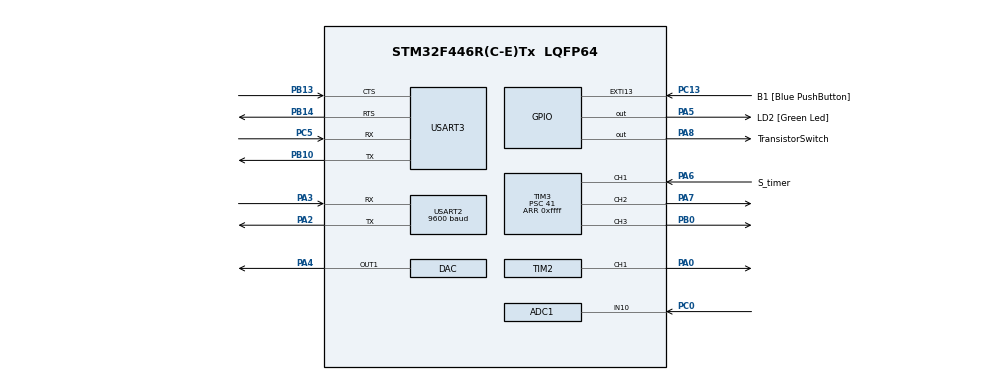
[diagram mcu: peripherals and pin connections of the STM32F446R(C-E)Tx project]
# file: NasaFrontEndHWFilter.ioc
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ADC1.Channel-17\#ChannelRegularConversion=ADC_CHANNEL_10
ADC1.ClockPrescaler=ADC_CLOCK_SYNC_PCLK_DIV2
ADC1.ContinuousConvMode=DISABLE
ADC1.DMAContinuousRequests=ENABLE
ADC1.DataAlign=ADC_DATAALIGN_RIGHT
ADC1.DiscontinuousConvMode=DISABLE
ADC1.EOCSelection=ADC_EOC_SEQ_CONV
ADC1.EnableAnalogWatchDog=false
ADC1.ExternalTrigConv=ADC_EXTERNALTRIGCONV_T2_TRGO
ADC1.ExternalTrigConvEdge=ADC_EXTERNALTRIGCONVEDGE_RISING
ADC1.InjNumberOfConversion=0
ADC1.NbrOfConversion=1
ADC1.NbrOfConversionFlag=1
ADC1.Rank-17\#ChannelRegularConversion=1
ADC1.Resolution=ADC_RESOLUTION_12B
ADC1.SamplingTime-17\#ChannelRegularConversion=ADC_SAMPLETIME_3CYCLES
ADC1.ScanConvMode=DISABLE
ADC1.master=1
Dma.ADC1.0.Direction=DMA_PERIPH_TO_MEMORY
Dma.ADC1.0.FIFOMode=DMA_FIFOMODE_DISABLE
Dma.ADC1.0.Instance=DMA2_Stream0
Dma.ADC1.0.MemDataAlignment=DMA_MDATAALIGN_WORD
Dma.ADC1.0.MemInc=DMA_MINC_ENABLE
Dma.ADC1.0.Mode=DMA_CIRCULAR
Dma.ADC1.0.PeriphDataAlignment=DMA_PDATAALIGN_WORD
Dma.ADC1.0.PeriphInc=DMA_PINC_DISABLE
Dma.ADC1.0.Priority=DMA_PRIORITY_LOW
Dma.Request0=ADC1
Mcu.Family=STM32F4
Mcu.Name=STM32F446R(C-E)Tx
Mcu.Package=LQFP64
Mcu.UserConstants=HI,0xF8E;LO,0x0F8;HIGHCOUNT,2;LOWCOUNT,1;HIGHPERIOD,450;LOWPERIOD,310
NVIC.DMA2_Stream0_IRQn=true\:0\:0\:false\:false\:true
NVIC.EXTI15_10_IRQn=true\:0\:0\:false\:false\:true
NVIC.PriorityGroup=NVIC_PRIORITYGROUP_0
NVIC.TIM3_IRQn=true\:0\:0\:false\:false\:true
NVIC.TIM4_IRQn=true\:0\:0\:false\:false\:true
NVIC.USART2_IRQn=true\:0\:0\:false\:false\:true
PA0-WKUP.Signal=S_TIM2_CH1_ETR
PA2.Mode=Asynchronous
PA2.Signal=USART2_TX
PA3.Mode=Asynchronous
PA3.Signal=USART2_RX
PA4.Signal=COMP_DAC1_group
PA5.GPIO_Label=LD2 [Green Led]
PA5.GPIO_PuPd=GPIO_PULLDOWN
PA5.Signal=GPIO_Output
PA6.GPIO_Label=S_timer
PA6.Signal=S_TIM3_CH1
PA7.GPIO_PuPd=GPIO_PULLDOWN
PA7.Signal=S_TIM3_CH2
PA8.GPIO_Label=TransistorSwitch
PA8.GPIO_PuPd=GPIO_PULLDOWN
PA8.GPIO_Speed=GPIO_SPEED_FREQ_VERY_HIGH
PA8.Signal=GPIO_Output
PB0.Signal=S_TIM3_CH3
PB10.Mode=Asynchronous
PB10.Signal=USART3_TX
PB13.Mode=CTS_RTS
PB13.Signal=USART3_CTS
PB14.Mode=CTS_RTS
PB14.Signal=USART3_RTS
PC0.Signal=ADCx_IN10
PC13.GPIO_Label=B1 [Blue PushButton]
PC13.GPIO_ModeDefaultEXTI=GPIO_MODE_IT_RISING
PC13.GPIO_PuPd=GPIO_PULLDOWN
PC13.Signal=GPXTI13
PC5.Mode=Asynchronous
PC5.Signal=USART3_RX
ProjectManager.HeapSize=0x200
ProjectManager.StackSize=0x400
ProjectManager.TargetToolchain=MDK-ARM V5
RCC.AHBFreq_Value=168000000
RCC.APB1CLKDivider=RCC_HCLK_DIV4
RCC.APB1Freq_Value=42000000
RCC.APB1TimFreq_Value=84000000
RCC.APB2CLKDivider=RCC_HCLK_DIV4
RCC.APB2Freq_Value=42000000
RCC.APB2TimFreq_Value=84000000
RCC.CortexFreq_Value=168000000
RCC.FLatency-AdvancedSettings=FLASH_LATENCY_5
RCC.HCLKFreq_Value=168000000
RCC.HSE_VALUE=8000000
RCC.HSI_VALUE=16000000
RCC.LSE_VALUE=32768
RCC.PLLM=8
RCC.PLLN=168
RCC.SYSCLKFreq_VALUE=168000000
RCC.SYSCLKSource=RCC_SYSCLKSOURCE_PLLCLK
RCC.USBFreq_Value=168000000
RCC.VCOOutputFreq_Value=336000000
SH.ADCx_IN10.0=ADC1_IN10,IN10
SH.COMP_DAC1_group.0=DAC_OUT1,DAC_OUT1
SH.S_TIM2_CH1_ETR.0=TIM2_CH1,Output Compare1 CH1
SH.S_TIM3_CH1.0=TIM3_CH1,Input_Capture1_from_TI1
SH.S_TIM3_CH2.0=TIM3_CH2,Output Compare2 CH2
SH.S_TIM3_CH3.0=TIM3_CH3,Output Compare3 CH3
TIM2.OCMode_1=TIM_OCMODE_TOGGLE
TIM2.Period=419
TIM2.TIM_MasterOutputTrigger=TIM_TRGO_UPDATE
TIM3.Channel-Output\ Compare2\ CH2=TIM_CHANNEL_2
TIM3.Channel-Output\ Compare3\ CH3=TIM_CHANNEL_3
TIM3.ICPolarity_CH1=TIM_INPUTCHANNELPOLARITY_FALLING
TIM3.OCMode_2=TIM_OCMODE_TOGGLE
TIM3.OCMode_3=TIM_OCMODE_TIMING
TIM3.Period=0xffff
TIM3.Prescaler=41
TIM4.Period=62499
TIM4.Prescaler=671
USART2.BaudRate=9600
VP_TIM2_VS_ClockSourceINT.Mode=Internal
VP_TIM3_VS_ClockSourceINT.Mode=Internal
VP_TIM4_VS_ClockSourceINT.Mode=Internal
VP_TIM4_VS_no_output1.Mode=Output Compare1 No Output
board=NUCLEO-F446RE

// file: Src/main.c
/**
  ******************************************************************************
  * File Name          : main.c
  * Description        : Main program body
  ******************************************************************************
  *
  * COPYRIGHT(c) 2016 STMicroelectronics
  *
  * Redistribution and use in source and binary forms, with or without modification,
  * are permitted provided that the following conditions are met:
  *   1. Redistributions of source code must retain the above copyright notice,
  *      this list of conditions and the following disclaimer.
  *   2. Redistributions in binary form must reproduce the above copyright notice,
  *      this list of conditions and the following disclaimer in the documentation
  *      and/or other materials provided with the distribution.
  *   3. Neither the name of STMicroelectronics nor the names of its contributors
  *      may be used to endorse or promote products derived from this software
  *      without specific prior written permission.
  *
  * THIS SOFTWARE IS PROVIDED BY THE COPYRIGHT HOLDERS AND CONTRIBUTORS "AS IS"
  * AND ANY EXPRESS OR IMPLIED WARRANTIES, INCLUDING, BUT NOT LIMITED TO, THE
  * IMPLIED WARRANTIES OF MERCHANTABILITY AND FITNESS FOR A PARTICULAR PURPOSE ARE
  * DISCLAIMED. IN NO EVENT SHALL THE COPYRIGHT HOLDER OR CONTRIBUTORS BE LIABLE
  * FOR ANY DIRECT, INDIRECT, INCIDENTAL, SPECIAL, EXEMPLARY, OR CONSEQUENTIAL
  * DAMAGES (INCLUDING, BUT NOT LIMITED TO, PROCUREMENT OF SUBSTITUTE GOODS OR
  * SERVICES; LOSS OF USE, DATA, OR PROFITS; OR BUSINESS INTERRUPTION) HOWEVER
  * CAUSED AND ON ANY THEORY OF LIABILITY, WHETHER IN CONTRACT, STRICT LIABILITY,
  * OR TORT (INCLUDING NEGLIGENCE OR OTHERWISE) ARISING IN ANY WAY OUT OF THE USE
  * OF THIS SOFTWARE, EVEN IF ADVISED OF THE POSSIBILITY OF SUCH DAMAGE.
  *
  ******************************************************************************
  */
#include "stm32f4xx_hal.h"
#include "ManchesterEncode.h"
#include "MX_INIT_FUNC.h"

/* USER CODE BEGIN Includes */
#define OFFSET 30
/* USER CODE END Includes */

ADC_HandleTypeDef hadc1;
DMA_HandleTypeDef hdma_adc1;

DAC_HandleTypeDef hdac;

TIM_HandleTypeDef htim2;
TIM_HandleTypeDef htim3;
TIM_HandleTypeDef htim4;

UART_HandleTypeDef huart2;
UART_HandleTypeDef huart3;

/* USER CODE BEGIN PV */
/* Private variables ---------------------------------------------------------*/
static int TestArray[ONES_REPEATED + ZEROES_REPEATED];
	//To prevent transients on the oscillator, multiple copies of the same symbol must be sent in a row.
	//This sequency is actually 1010110010
int ArrLen = sizeof(TestArray) / sizeof(int);
int ArrInd = 0;
int NextSymbol = 85, CurrentSymbol = 85;
	//85 = invalid input, prevents accidentaly entering loops

volatile int togglecheck = 1; // flag for when to update nextt transmitted symbol
char PolarityCheck = 'R'; //used to update current edge polarity (Rise or fall)
int stop_ADC = 1;
int CaseNumber = 0; //used to (eventually) switch between data entry modes
int EdgeCount = 0; //counts edges detected to determine when to transmit next symbol

volatile uint32_t ADCConvertedValue; //holds last converted value
uint32_t LastValue = 5000; //invalid value to prevent invalid start

uint16_t CaptureIndex = 0;
uint32_t CapValue0 = 0;
uint32_t CapValue1 = 0;
uint32_t CapValue2 = 0;
uint32_t ValueDiff = 0;

uint32_t i = 0;

volatile uint32_t EntryModeFlag = 0;
volatile uint32_t StartFlag = 0;

/* USER CODE END PV */

/* USER CODE BEGIN PFP */
/* Private function prototypes -----------------------------------------------*/
void TestCaseOutput(void); //output function for testcase mode
void ReadCustomData(void);
/* USER CODE END PFP */

int main(void)
{

  /* USER CODE BEGIN 1 */
	uint16_t testindex = 0;
	uint16_t tmp_tot = ONES_REPEATED + ZEROES_REPEATED;
	for(testindex=0; testindex < ONES_REPEATED; testindex++){
		TestArray[testindex] = 1;
	}
	for(testindex = ONES_REPEATED; testindex<tmp_tot; testindex++){
		TestArray[testindex] = 0;
	}
  /* USER CODE END 1 */

  /* MCU Configuration----------------------------------------------------------*/

  /* Reset of all peripherals, Initializes the Flash interface and the Systick. */
  HAL_Init();

  /* Configure the system clock */
  SystemClock_Config();

  /* Initialize all configured peripherals */
  MX_GPIO_Init();
  MX_DMA_Init();
  MX_ADC1_Init();
  MX_DAC_Init();
  MX_TIM2_Init();
  MX_TIM3_Init();
  MX_USART3_UART_Init();
  MX_TIM4_Init();
  MX_USART2_UART_Init();

  /* USER CODE BEGIN 2 */
	HAL_TIM_Base_Start_IT(&htim2);  //time base for adc sampling rate
	//HAL_ADC_Start_DMA(&hadc1, &ADCConvertedValue, sizeof(uint32_t));
  //HAL_TIM_OC_Start(&htim2,TIM_CHANNEL_1);

	HAL_TIM_IC_Start_IT(&htim3, TIM_CHANNEL_1);

  /* USER CODE END 2 */

  /* Infinite loop */
  while (1)
  {

  /* USER CODE BEGIN 3 */
//		while(!StartFlag){
//		}
		//StartFlag = 0;
		switch(CaseNumber){
			case(0) :
				while(togglecheck){ //if it's time to switch to next symbol
					TestCaseOutput(); //transmit
				}
				break;
			case(1) :
				ReadCustomData();
				break;
			case(2):
				break;
			default :
				break;
		}
	}
  /* USER CODE END 3 */

}

/** System Clock Configuration
*/

/* USER CODE BEGIN 4 */
void TestCaseOutput(void){

	if(NextSymbol == 85){ //data validation for the initial transmission
		NextSymbol = TestArray[ArrInd];  //load the first transmission symbol in the array
		ArrInd++;
	}

	if(NextSymbol == 1){
		HAL_GPIO_WritePin(TransistorSwitch_GPIO_Port, TransistorSwitch_Pin, GPIO_PIN_SET);
		HAL_GPIO_WritePin(LD2_GPIO_Port, LD2_Pin, GPIO_PIN_SET);
	}else if(NextSymbol == 0){
		HAL_GPIO_WritePin(TransistorSwitch_GPIO_Port, TransistorSwitch_Pin, GPIO_PIN_RESET);
	}

	if((ArrInd + 1) <= (ArrLen)){ //prevent ArrInd going out of bounds
		CurrentSymbol = NextSymbol;
		NextSymbol = TestArray[ArrInd];
		ArrInd++;
		if(ArrInd == ArrLen){
			ArrInd = 0;
		}
	}
	togglecheck = 0; //clear flag
}

void ReadCustomData(void){
	static int p=0; //,i = 0;
	uint8_t buffer[100];
	uint8_t recbuff[1];
	uint8_t sendbuff[8];

	p = sprintf((char *)buffer, "Please enter in your own input:\n");
	HAL_UART_Transmit(&huart2, buffer, p,50);
	HAL_UART_Receive(&huart2, recbuff, 2, 10000);
	p = 0;
	//recbuff[0] = ;
	for(i=0;i<8;i++){
		sendbuff[i] = (recbuff[0] & (0x1 << i));
		sendbuff[i] = sendbuff[i] >> i;
		//p++;
	}

	for(int z = 0; z<2; z++){
		for(int j=0;j<8;j++){ //Flag a start to the sequence
					while(!togglecheck){
					}
					HAL_GPIO_WritePin(TransistorSwitch_GPIO_Port, TransistorSwitch_Pin, GPIO_PIN_SET);
					HAL_GPIO_WritePin(LD2_GPIO_Port, LD2_Pin, GPIO_PIN_SET);
					togglecheck = 0;
				}
		//HAL_GPIO_WritePin(TransistorSwitch_GPIO_Port, TransistorSwitch_Pin, GPIO_PIN_RESET);
	}
	for(int z = 0; z<2; z++){
		for(int j=0;j<8;j++){ //Flag a start to the sequence
					while(!togglecheck){
					}
					HAL_GPIO_WritePin(TransistorSwitch_GPIO_Port, TransistorSwitch_Pin, GPIO_PIN_RESET);
					HAL_GPIO_WritePin(LD2_GPIO_Port, LD2_Pin, GPIO_PIN_RESET);
					togglecheck = 0;
				}
		//HAL_GPIO_WritePin(TransistorSwitch_GPIO_Port, TransistorSwitch_Pin, GPIO_PIN_SET);
	}

	for(i=0;i<8;i++){
		if(sendbuff[i] == 1){
			ManchesterOne();
			sendbuff[i] = 0;
		}else if(sendbuff[i] == 0){
			ManchesterZero();
			sendbuff[i] = 0;
		}
	}

	while(!togglecheck){ //set back to low
	}
	HAL_GPIO_WritePin(TransistorSwitch_GPIO_Port, TransistorSwitch_Pin, GPIO_PIN_RESET);
	HAL_GPIO_WritePin(LD2_GPIO_Port, LD2_Pin, GPIO_PIN_RESET);
	togglecheck = 0;

}

void HAL_ADC_ConvCpltCallback(ADC_HandleTypeDef* hadc) //IGNORE THIS CALLBACK --UNUSED
{
	//HAL_GPIO_TogglePin(LD2_GPIO_Port, LD2_Pin); //pin toggle to ensure operation

	if(LastValue <= 4095){
		if((LastValue < LOWEDGE) && (ADCConvertedValue > HIGHEDGE)){
			EdgeCount++;
			if(HAL_TIM_IC_Start_IT(&htim3, TIM_CHANNEL_1) != HAL_OK)
				{
					Error_Handler();
				}
		}

//		if(CurrentSymbol == 1){
//			if(EdgeCount >= HIGHCOUNT){
//				EdgeCount = 0;
//				togglecheck = 1;
//			}
//		}else if(CurrentSymbol == 0){
//			if(EdgeCount >= LOWCOUNT){
//				EdgeCount = 0;
//				togglecheck = 1;
//			}
//		}
	}

	LastValue = ADCConvertedValue; //store last state
}

void HAL_TIM_IC_CaptureCallback( TIM_HandleTypeDef* htim ){

	if(htim->Channel == HAL_TIM_ACTIVE_CHANNEL_1){ //check that the proper timer channel interrupted
		if((PolarityCheck == 'R') && (CaptureIndex == 0)){ //if the next edge is rising and the first capture
			CapValue0 = HAL_TIM_ReadCapturedValue(htim, TIM_CHANNEL_1);
			CaptureIndex++; //increase index variable
			PolarityCheck = 'F'; //change capture polarity
		}else if(CaptureIndex == 1){
			CapValue1 = HAL_TIM_ReadCapturedValue(htim, TIM_CHANNEL_1);
			CaptureIndex++;
			PolarityCheck = 'R';
		}else if(CaptureIndex == 2){
			CapValue0 = HAL_TIM_ReadCapturedValue(htim, TIM_CHANNEL_1);
			CaptureIndex--; //bring back to CapInd = 1
			PolarityCheck = 'F';//change polarity
			togglecheck = 1; //now that ---__-- low pulse detected, begin next transmission
		}
		if(PolarityCheck == 'R'){ //change IC capture polarity
			__HAL_TIM_SET_CAPTUREPOLARITY(&htim3, TIM_CHANNEL_1, TIM_INPUTCHANNELPOLARITY_RISING);
		}else if(PolarityCheck == 'F'){
			__HAL_TIM_SET_CAPTUREPOLARITY(&htim3, TIM_CHANNEL_1, TIM_INPUTCHANNELPOLARITY_FALLING);
		}
	}
}

void HAL_TIM_OC_DelayElapsedCallback( TIM_HandleTypeDef* htim ){
	HAL_TIM_OC_Stop_IT(htim, TIM_CHANNEL_1);
	if(EntryModeFlag){
		CaseNumber = 1;
		EntryModeFlag = 0;
		StartFlag = 1;
	}else if(!CaseNumber){
		ArrInd = 0;
		ArrLen = sizeof(TestArray) / sizeof(int);
		//HAL_TIM_IC_Start_IT(&htim3, TIM_CHANNEL_1);
		StartFlag = 1;
	}
}

void HAL_GPIO_EXTI_Callback(uint16_t GPIO_Pin){

//	if((htim4.Instance->CR1 && 0x0001) == 0){
//		HAL_TIM_OC_Start_IT(&htim4, TIM_CHANNEL_1);
//	}else if((htim4.Instance->CR1 && 0x0001) == 1){
//		EntryModeFlag = 1;
//	}
	StartFlag = 1;
	CaseNumber++;
//	if(!CaseNumber){
//		HAL_TIM_IC_Stop_IT(&htim3, TIM_CHANNEL_1);
//		CaseNumber++;
//		ArrInd = 0;
//	}else{
//		CaseNumber = 0;
//		ArrLen = sizeof(TestArray) / sizeof(int);
//		ArrInd = 0;
//				HAL_TIM_IC_Start_IT(&htim3, TIM_CHANNEL_1);
//	}
}

void HAL_UART_RxCpltCallback(UART_HandleTypeDef * huart){

}
/* USER CODE END 4 */

/************************ (C) COPYRIGHT STMicroelectronics *****END OF FILE****/
